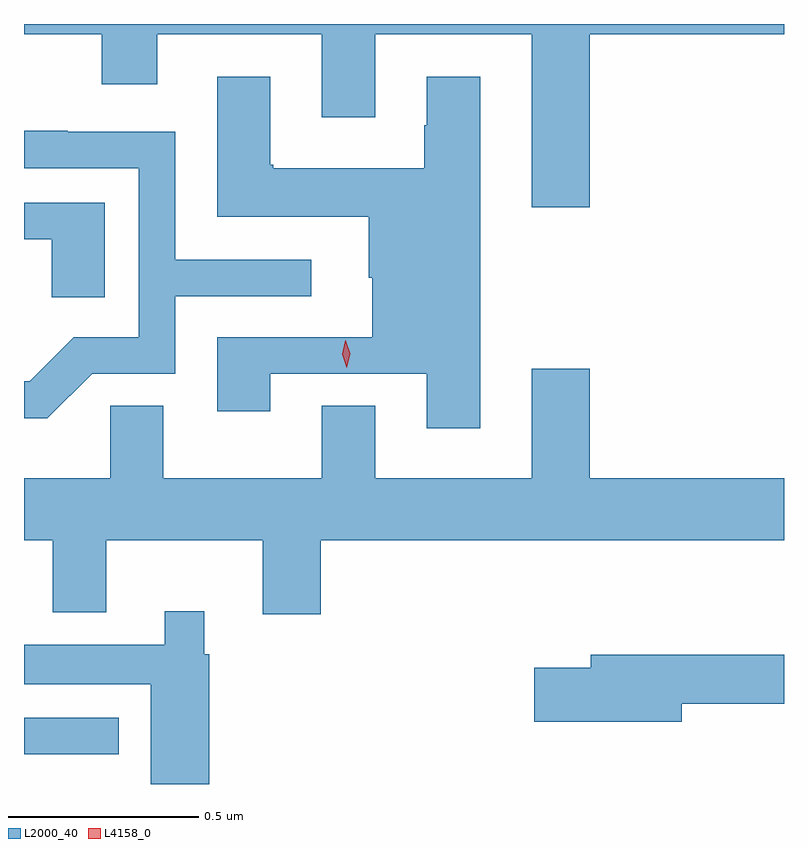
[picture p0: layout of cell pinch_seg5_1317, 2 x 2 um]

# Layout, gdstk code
import gdstk
lib = gdstk.Library(unit=1e-6, precision=1e-09)
def R(c, l, rs):  # rectangles x0, y0, x1, y1
    for r in rs: c.add(gdstk.rectangle(r[:2], r[2:], *l))
def P(c, l, *ps):  # polygons
    for p in ps: c.add(gdstk.Polygon(p, *l))
L2000_40 = (2000, 40)
L4158_0 = (4158, 0)

pinch_seg5_1317 = lib.new_cell('pinch_seg5_1317')
R(pinch_seg5_1317, L2000_40, [(486.337,858.861,486.586,858.957)])
P(pinch_seg5_1317, L2000_40, [(487.826,860.756),(488.337,860.756),(488.337,860.783),(486.337,860.783),(486.337,860.756),(486.541,860.756),(486.541,860.625),(486.688,860.625),(486.688,860.756),(487.121,860.756),(487.121,860.538),(487.261,860.538),(487.261,860.756),(487.673,860.756),(487.673,860.301),(487.826,860.301)],
  [(487.537,860.644),(487.397,860.644),(487.397,860.516),(487.39,860.516),(487.39,860.404),(486.993,860.404),(486.993,860.412),(486.985,860.412),(486.985,860.644),(486.845,860.644),(486.845,860.276),(487.244,860.276),(487.244,860.115),(487.253,860.115),(487.253,859.959),(486.845,859.959),(486.845,859.764),(486.985,859.764),(486.985,859.863),(487.397,859.863),(487.397,859.719),(487.537,859.719)],
  [(486.516,859.863),(486.735,859.863),(486.735,860.067),(487.093,860.067),(487.093,860.163),(486.735,860.163),(486.735,860.499),(486.452,860.499),(486.452,860.502),(486.337,860.502),(486.337,860.403),(486.639,860.403),(486.639,859.959),(486.468,859.959),(486.352,859.843),(486.337,859.843),(486.337,859.745),(486.398,859.745)],
  [(486.55,860.313),(486.337,860.313),(486.337,860.217),(486.41,860.217),(486.41,860.064),(486.55,860.064)],
  [(487.118,859.424),(488.337,859.424),(488.337,859.588),(487.826,859.588),(487.826,859.876),(487.673,859.876),(487.673,859.588),(487.261,859.588),(487.261,859.778),(487.121,859.778),(487.121,859.588),(486.703,859.588),(486.703,859.778),(486.564,859.778),(486.564,859.588),(486.337,859.588),(486.337,859.424),(486.413,859.424),(486.413,859.235),(486.553,859.235),(486.553,859.424),(486.965,859.424),(486.965,859.23),(487.118,859.23)],
  [(486.824,859.124),(486.811,859.124),(486.811,859.237),(486.707,859.237),(486.707,859.15),(486.337,859.15),(486.337,859.046),(486.671,859.046),(486.671,858.783),(486.824,858.783)],
  [(488.068,858.994),(488.337,858.994),(488.337,859.123),(487.829,859.123),(487.829,859.089),(487.68,859.089),(487.68,858.947),(488.068,858.947)])
P(pinch_seg5_1317, L4158_0, [(487.186,859.878),(487.186,859.878),(487.175,859.914),(487.183,859.95),(487.184,859.951),(487.184,859.95),(487.195,859.915),(487.186,859.878)])

lib.write_gds('pinch_seg5_1317.gds')
